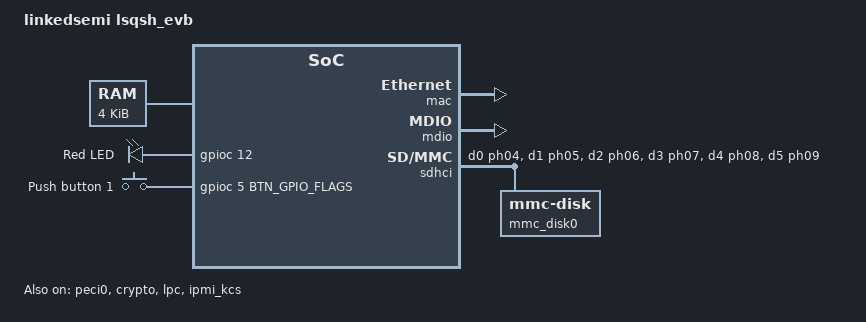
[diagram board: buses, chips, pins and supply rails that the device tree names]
/*
 * Copyright (c) 2024, Alibaba
 * SPDX-License-Identifier: Apache-2.0
 */

/dts-v1/;
#include <riscv/linkedsemi/lsqsh.dtsi>
#include <zephyr/dt-bindings/pinctrl/lsqsh-pinctrl.h>
#include "../alicmu_pinctrl_common.dtsi"

// Secure SRAM Layout
// 0x10000000 - 0x1007f000 size:508K sram0
// 0x1007f000 - 0x10080000 size:4K   mmio-sram

// Shared SRAM
// 0x1013f000 - 0x10140000 size:4K   mailbox

#define BTN_GPIO_FLAGS (GPIO_ACTIVE_HIGH | GPIO_PULL_UP)

/ {
    model = "linkedsemi lsqsh_evb";
    compatible = "linkedsemi,lsqsh_evb";

    chosen {
        zephyr,flash = &flash0;
        zephyr,flash-controller = &flash_controller;
        zephyr,sram = &sram0;
        zephyr,console = &uart3;
        zephyr,shell-uart = &uart3;
    };

    aliases {
        testi2c1 = &i2c5;
        testi2c2 = &i2c12;
        testjtag2 = &jtag2;
        // testeeprom1 = &eeprom5;
        // testeeprom2 = &eeprom12;
        peci-0 = &peci0;
        sdhc0 = &sdhci;
        led0 = &led0;
        sw0 = &btn0;
    };

    sram0_nocache: memory@1007f000{
        compatible = "zephyr,memory-region", "mmio-sram";
        reg = <(0x1007f000) DT_SIZE_K(4)>;
        device_type = "memory";
        zephyr,memory-region = "nocache";
    };

    soc {
        compatible = "simpe-bus";
        #address-cells = <1>;
        #size-cells = <1>;
        interrupt-parent = <&intc>;

        mbox: mbox@1013f000 {
            compatible = "linkedsemi,mbox";
            reg = <0x1013f000 0x1000>;
            interrupts = <27 3>;
            nchannels = <2>;
            fifo-deepth = <8>;
            fifo-width = <64>;
            #mbox-cells = <1>;
        };
    };

    mbox_consumer0: mbox-consumer0 {
        compatible = "vnd,mbox-consumer";
        mboxes = <&mbox 1>, <&mbox 0>;
        mbox-names = "tx", "rx";
    };

    mbox_consumer1: mbox-consumer1 {
        compatible = "vnd,mbox-consumer";
        mboxes = <&mbox 3>, <&mbox 2>;
        mbox-names = "tx", "rx";
    };

    leds {
        compatible = "gpio-leds";
        led0: led_0{
            gpios = <&gpioc 12 GPIO_ACTIVE_HIGH>;
            label = "Red LED";
        };
    };

    keys {
        compatible = "gpio-keys";
        btn0: btn_0{
            gpios = <&gpioc 5 BTN_GPIO_FLAGS>;
            label = "Push button 1";
        };
    };
};

&cpu0 {
    clock-frequency = <50000000>;
    cpu-power-states = <&idle &lp0>;
};

&cpu1 {
    status = "disabled";
};

&sram0 {
    reg = <0x10000000 DT_SIZE_K(508)>;
};

&sram1 {
    status = "disabled";
};

&gpioa {
    status = "okay";
};

&gpiob {
    status = "okay";
};

&gpioc {
    status = "okay";
};

&gpiod {
    status = "okay";
};

&gpioe {
    status = "okay";
};

&gpiof {
    status = "okay";
};

&gpiog {
    status = "okay";
};

&gpioh {
    status = "okay";
};

&gpioi {
    status = "okay";
};

&gpioj {
    status = "okay";
};

&gpiok {
    status = "okay";
};

&gpiom {
    status = "okay";
};

&gpion {
    status = "okay";
};

&gpioq {
    status = "okay";
};

&gpiot {
    status = "okay";
};

&mac {
    pinctrl-0 = <&rmii_txen_pt03
                &rmii_txd0_pt04
                &rmii_txd1_pt05
                &rmii_rxc_pt08
                &rmii_crsdv_pt09
                &rmii_rxd0_pt10
                &rmii_rxd1_pt11>;
    pinctrl-names = "default";
    status = "okay";
};

&mdio {
    pinctrl-0 = <&rmii_mdc_pt00
                &rmii_mdio_pt01>;
    pinctrl-names = "default";
    status = "okay";
};

&peci0 {
    pinctrl-0 = <&peci_pk00>;
    pinctrl-names = "default";
    status = "okay";
};

&sdhci {
    pinctrl-0 = <&sdhc_d0_ph04
                &sdhc_d1_ph05
                &sdhc_d2_ph06
                &sdhc_d3_ph07
                &sdhc_d4_ph08
                &sdhc_d5_ph09
                &sdhc_d6_ph010
                &sdhc_d7_ph011
                &sdhc_clk_ph012
                &sdhc_cmd_ph013>;
    pinctrl-names = "default";
    status = "okay";

    mmc_disk0: disk {
        compatible = "zephyr,mmc-disk";
        bus-width = <1>;
        status = "okay";
    };
};

&crypto {
    status = "okay";
};

tst_dma0: &dma0 {
    status = "okay";
};

&lpc {
    pinctrl-0 = <&lpc_serirq_pi09
                &lpc_frm_pi10
                &lpc_clk_pi11
                &lpc_dat3_pi12
                &lpc_dat2_pi13
                &lpc_dat1_pi14
                &lpc_dat0_pi15>;
    pinctrl-names = "default";
    status = "okay";

    kcs_ca2: kcs_ca2 {
        compatible = "linkedsemi,ls-kcs";
        port = <0xca2 0xca3>;
        status = "okay";
    };
};

&ipmi_kcs {
    kcs_chan = <&kcs_ca2>;
    status = "okay";
};
